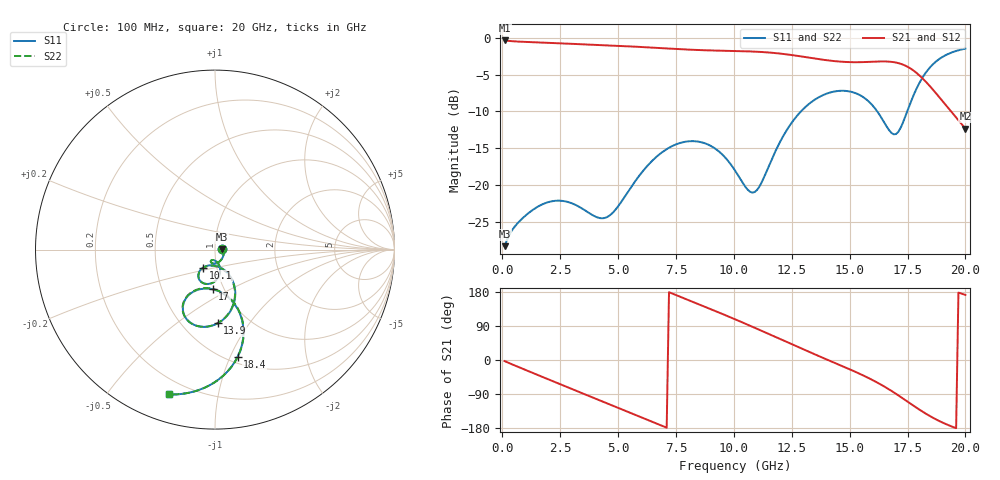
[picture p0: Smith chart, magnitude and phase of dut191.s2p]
! Touchstone file exported from HFSS 2026.1.0
!  File:  C:/ffzhzh/LocalFiles/Ansys_Project_Files/temp_train_TSV_RDL_191_1783058610_45820.aedt
!  Generated:  02:28:57 PM Jul  3, 2026
!  Design:  TSV_RDL
!  Project:  temp_train_TSV_RDL_191_1783058610_45820
! Variables:
!  h_bsmrdl = 2.68um
!  h_ox = 20um
!  h_rdl = 5um
!  h_sub = 84.93um
!  h_tmrdl = 4.73um
!  h_tsv = 84.93um
!  h_via = 3um
!  l_bsmrdl = 864.76um
!  l_sub = 7136.47um
!  l_tmrdl = 998.37um
!  m_sub = 200um
!  pitch = 31.2um
!  r_tsv = 2.54um
!  s_tmrdl = 10um
!  w_bsmrdl = 19.66um
!  w_sub = 500um
!  w_tmrdl = 29.91um
!  x_tsv_center1 = 1013.325um
!  x_tsv_center2 = 1897.745um
!  x_tsv_center3 = 2926.025um
!  x_tsv_center4 = 3810.445um
!  x_tsv_center5 = 4838.725um
!  x_tsv_center6 = 5723.145um
# GHz S MA R 50.000000
! Terminal data exported
! Port[1] = TM_RDL1_1_T1
! Port[2] = TM_RDL5_1_T1
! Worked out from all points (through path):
!   200 points, 100 MHz to 20 GHz, reference 50 ohm
!   highest |S21| = -0.34 dB at 100 MHz (marker M1); lowest = -12.3 dB at 20 GHz (marker M2)
!   group delay of S21, straight-line fit = 75 ps
!   lowest |S11| = -28.4 dB at 100 MHz (marker M3), VSWR 1.08, Z = 54 + j0.0965 ohm
!   |S11| at or under -10 dB: start of sweep to 12.9 GHz; 16.19 GHz to 17.49 GHz (1.296 GHz wide, 7.7 % of centre)
!   |S22| runs from -28.4 to -1.5 dB; largest |S21 - S12| = 3.5e-14
!   S11 on the Smith chart (normalised r, x): 100 MHz: 1.08, +0.00; 10.1 GHz: 0.86, -0.18; 13.9 GHz: 0.73, -0.72; 17 GHz: 0.89, -0.41; 18.4 GHz: 0.56, -1.07; 20 GHz: 0.13, -0.73
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0.1  0.03821 1.3  0.9619 -2.9  0.9619 -2.9  0.03821 1.3
! Gamma 0 0 0 0
! Port Impedance 50 0 50 0
0.7  0.05557 -31.1  0.9448 -18.6  0.9448 -18.6  0.05556 -31.1
1.9  0.07548 -82.3  0.928 -48.8  0.928 -48.8  0.0754 -82.3
2.7  0.07727 -101.9  0.9167 -68.9  0.9167 -68.9  0.07711 -102.0
3.5  0.06813 -109.9  0.9053 -88.9  0.9053 -88.9  0.06785 -110.0
4.6  0.06126 -90.4  0.8899 -116.3  0.8899 -116.3  0.06085 -90.1
5.8  0.1091 -75.2  0.8715 -146.3  0.8715 -146.3  0.1089 -74.9
6.8  0.162 -85.3  0.8541 -171.2  0.8541 -171.2  0.162 -85.0
8.3  0.1981 -109.2  0.8298 151.7  0.8298 151.7  0.1984 -108.8
9.3  0.1715 -122.9  0.82 126.7  0.82 126.7  0.1721 -122.4
10.1  0.1218 -123.9  0.8148 106.2  0.8148 106.2  0.1229 -123.3
11  0.09217 -84.2  0.806 82.4  0.806 82.4  0.09399 -84.5
12.3  0.2378 -62.5  0.7729 46.9  0.7729 46.9  0.2385 -63.0
13.4  0.3711 -79.0  0.7283 17.4  0.7283 17.4  0.3714 -79.3
13.9  0.4113 -88.0  0.7092 4.3  0.7092 4.3  0.4113 -88.3
15.4  0.4115 -113.7  0.684 -35.4  0.684 -35.4  0.411 -114.0
16.7  0.2362 -110.8  0.6903 -77.4  0.6903 -77.4  0.234 -111.1
17  0.2216 -93.3  0.6804 -89.1  0.6804 -89.1  0.219 -93.3
17.8  0.4207 -69.0  0.5934 -122.3  0.5934 -122.3  0.4193 -68.8
18.4  0.6116 -78.2  0.4827 -145.6  0.4827 -145.6  0.6109 -78.0
19.1  0.7569 -92.3  0.3572 -167.5  0.3572 -167.5  0.7565 -92.3
20  0.8464 -107.5  0.2414 171.7  0.2414 171.7  0.8462 -107.4
